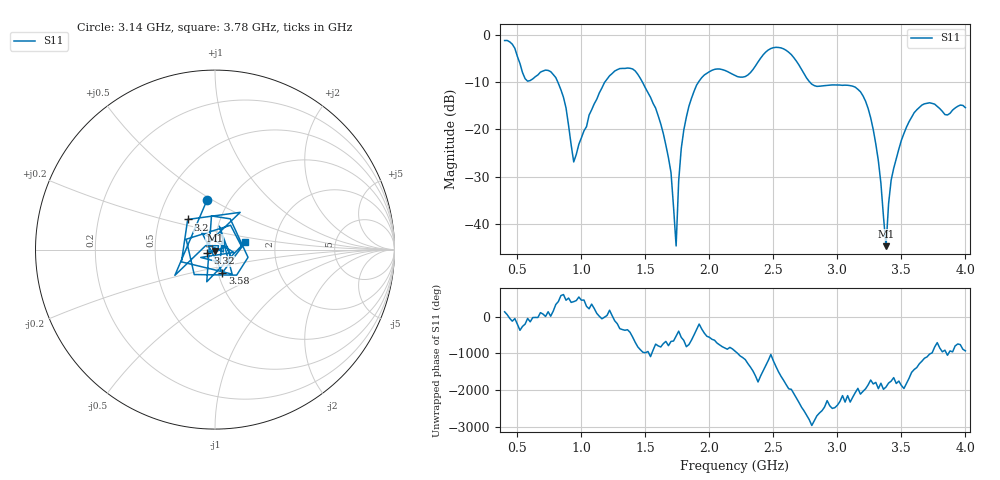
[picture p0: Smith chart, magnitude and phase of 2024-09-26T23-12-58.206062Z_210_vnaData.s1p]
!Created with skrf (http://scikit-rf.org).
# Hz S RI R 50.0
!freq ReS11 ImS11
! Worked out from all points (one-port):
!   181 points, 400 MHz to 4 GHz, reference 50 ohm
!   lowest |S11| = -44.7 dB at 3.38 GHz (marker M1), VSWR 1.01, Z = 49.8 - j0.546 ohm
!   |S11| at or under -10 dB: 815.8 MHz to 1.183 GHz (366.9 MHz wide, 36.7 % of centre); 1.477 GHz to 1.915 GHz (437.6 MHz wide, 25.8 % of centre); 2.785 GHz to end of sweep
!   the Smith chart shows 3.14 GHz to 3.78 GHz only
!   S11 on the Smith chart (normalised r, x): 3.14 GHz: 0.79, +0.47; 3.2 GHz: 0.70, +0.25; 3.32 GHz: 0.92, -0.04; 3.58 GHz: 1.05, -0.27; 3.78 GHz: 1.40, +0.13
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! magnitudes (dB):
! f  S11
! 400 MHz  -1.2
! 580 MHz  -9.8
! 740 MHz  -7.5
! 860 MHz  -13.2
! 940 MHz  -26.9
! 1.14 GHz  -12.3
! 1.3 GHz  -7.1
! 1.42 GHz  -7.6
! 1.6 GHz  -17.1
! 1.7 GHz  -29.1
! 1.74 GHz  -44.7
! 1.76 GHz  -30.9
! 1.8 GHz  -20.1
! 1.9 GHz  -10.6
! 2.2 GHz  -8.6
! 2.5 GHz  -2.7
! 2.66 GHz  -4.8
! 2.82 GHz  -10.7
! 3.1 GHz  -10.7
! 3.14 GHz  -11.1
! 3.2 GHz  -12.9
! 3.32 GHz  -26.6
! 3.38 GHz  -44.7
! 3.42 GHz  -30.7
! 3.56 GHz  -18.4
! 3.58 GHz  -17.4
! 3.78 GHz  -15.1
! 4 GHz  -15.4
